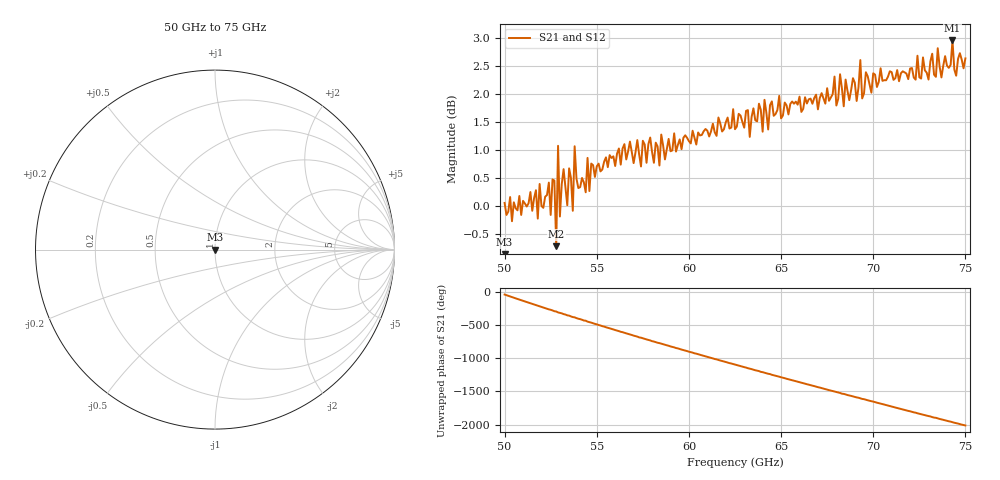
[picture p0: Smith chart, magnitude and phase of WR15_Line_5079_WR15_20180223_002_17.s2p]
# GHZ S RI R 50
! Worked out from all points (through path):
!   251 points, 50 GHz to 75 GHz, reference 50 ohm
!   highest |S21| = 2.96 dB at 74.3 GHz (marker M1); lowest = -0.7 dB at 52.8 GHz (marker M2)
!   lowest |S11| = - dB at 50 GHz (marker M3), VSWR 1.00, Z = 50 - j2.33e-15 ohm
!   |S11| at or under -10 dB: start of sweep to end of sweep
!   |S22| runs from - to - dB; largest |S21 - S12| = 1e-14
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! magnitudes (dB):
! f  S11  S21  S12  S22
! 50 GHz  -  0.1  0.1  -
! 51.8 GHz  -  -0.2  -0.2  -
! 52.4 GHz  -  0.4  0.4  -
! 52.5 GHz  -  -0.2  -0.2  -
! 52.7 GHz  -  0.5  0.5  -
! 52.8 GHz  -  -0.7  -0.7  -
! 52.9 GHz  -  1.1  1.1  -
! 53 GHz  -  -0.2  -0.2  -
! 53.2 GHz  -  0.7  0.7  -
! 53.7 GHz  -  -0.1  -0.1  -
! 53.8 GHz  -  1.1  1.1  -
! 54.2 GHz  -  0.5  0.5  -
! 57.9 GHz  -  1.2  1.2  -
! 58.4 GHz  -  0.7  0.7  -
! 58.5 GHz  -  1.3  1.3  -
! 62.5 GHz  -  1.4  1.4  -
! 66.7 GHz  -  1.8  1.8  -
! 70.9 GHz  -  2.4  2.4  -
! 73.7 GHz  -  2.3  2.3  -
! 74.3 GHz  -  3.0  3.0  -
! 74.5 GHz  -  2.3  2.3  -
! 75 GHz  -  2.6  2.6  -
